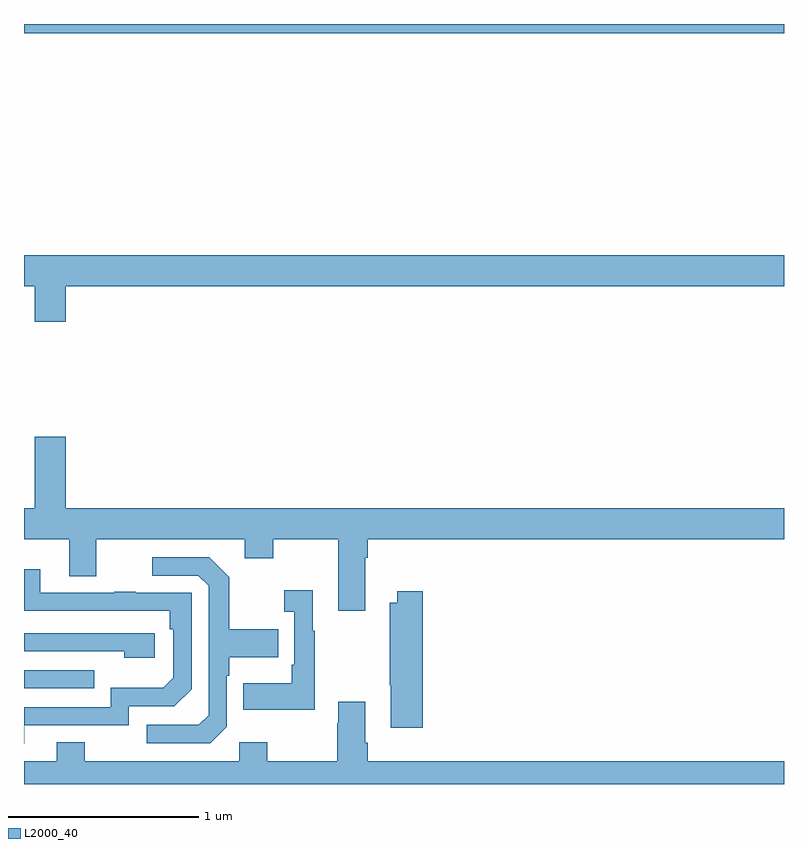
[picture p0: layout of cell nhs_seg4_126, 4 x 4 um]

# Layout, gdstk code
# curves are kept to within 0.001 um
import gdstk
lib = gdstk.Library(unit=1e-6, precision=1e-09)
def R(c, l, rs):  # rectangles x0, y0, x1, y1
    for r in rs: c.add(gdstk.rectangle(r[:2], r[2:], *l))
def P(c, l, *ps):  # polygons
    for p in ps: c.add(gdstk.Polygon(p, *l))
L2000_40 = (2000, 40)

nhs_seg4_126 = lib.new_cell('nhs_seg4_126')
R(nhs_seg4_126, L2000_40, [(117,761.403,117.371,761.499), (117,764.852,121,764.9)])
P(nhs_seg4_126, L2000_40, [(117.22,763.52),(121,763.52),(121,763.684),(117,763.684),(117,763.52),(117.056,763.52),(117.056,763.332),(117.22,763.332)],
  [(118.795,762.092),(118.808,762.092),(118.808,762.188),(121,762.188),(121,762.352),(117.22,762.352),(117.22,762.727),(117.056,762.727),(117.056,762.352),(117,762.352),(117,762.188),(117.239,762.188),(117.239,761.994),(117.379,761.994),(117.379,762.188),(118.163,762.188),(118.163,762.089),(118.311,762.089),(118.311,762.188),(118.655,762.188),(118.655,761.811),(118.795,761.811)],
  [(118.068,761.202),(118.068,761.471),(118.081,761.471),(118.081,761.567),(118.337,761.567),(118.337,761.715),(118.081,761.715),(118.081,761.987),(117.975,762.093),(117.675,762.093),(117.675,761.997),(117.918,761.997),(117.972,761.943),(117.972,761.262),(117.921,761.211),(117.645,761.211),(117.645,761.115),(117.981,761.115)],
  [(117.001,761.208),(117.552,761.208),(117.552,761.31),(117.792,761.31),(117.882,761.4),(117.882,761.907),(117.587,761.907),(117.587,761.912),(117.475,761.912),(117.475,761.907),(117.085,761.907),(117.085,762.031),(117,762.031),(117,761.812),(117.766,761.811),(117.766,761.714),(117.786,761.714),(117.786,761.46),(117.733,761.407),(117.456,761.407),(117.456,761.304),(117,761.304),(117,761.112)],
  [(118.531,761.707),(118.519,761.707),(118.519,761.92),(118.371,761.92),(118.371,761.807),(118.422,761.807),(118.422,761.527),(118.41,761.527),(118.41,761.431),(118.153,761.431),(118.153,761.291),(118.531,761.291)],
  [(119.099,761.914),(118.964,761.914),(118.964,761.854),(118.924,761.854),(118.924,761.419),(118.931,761.419),(118.931,761.196),(119.099,761.196)],
  [(117.688,761.694),(117,761.694),(117,761.598),(117.527,761.598),(117.527,761.564),(117.688,761.564)],
  [(121,761.02),(118.808,761.02),(118.808,761.116),(118.795,761.116),(118.795,761.332),(118.655,761.332),(118.655,761.219),(118.648,761.219),(118.648,761.02),(118.281,761.02),(118.281,761.119),(118.134,761.119),(118.134,761.02),(117.321,761.02),(117.321,761.119),(117.173,761.119),(117.173,761.02),(117,761.02),(117,760.9),(121,760.9)])

lib.write_gds('nhs_seg4_126.gds')
